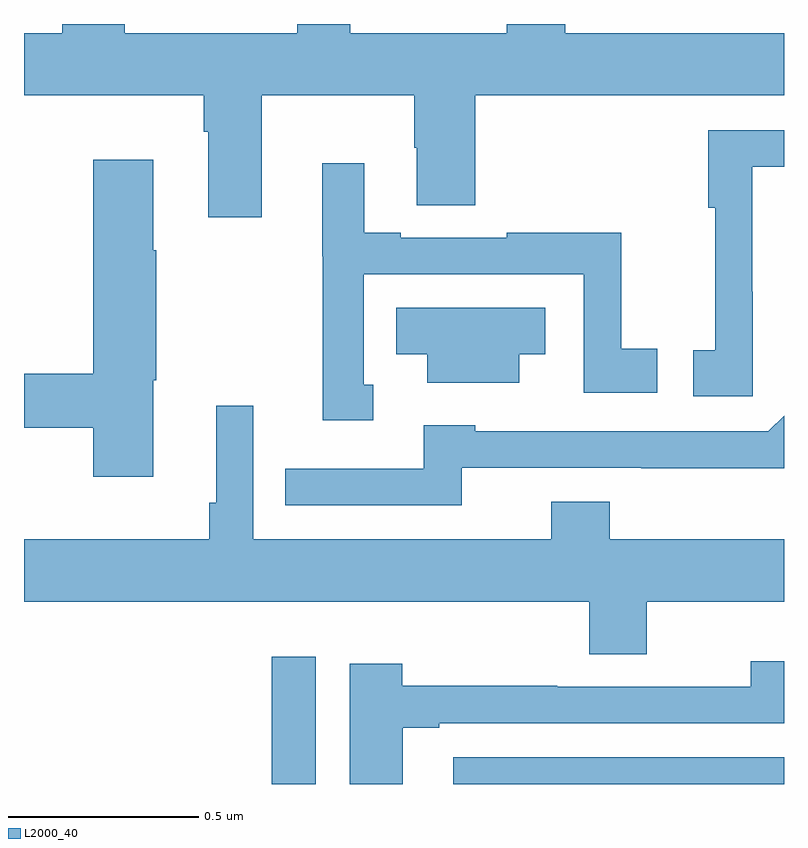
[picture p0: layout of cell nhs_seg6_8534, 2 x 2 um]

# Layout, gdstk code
import gdstk
lib = gdstk.Library(unit=1e-6, precision=1e-09)
def R(c, l, rs):  # rectangles x0, y0, x1, y1
    for r in rs: c.add(gdstk.rectangle(r[:2], r[2:], *l))
def P(c, l, *ps):  # polygons
    for p in ps: c.add(gdstk.Polygon(p, *l))
L2000_40 = (2000, 40)

nhs_seg6_8534 = lib.new_cell('nhs_seg6_8534')
R(nhs_seg6_8534, L2000_40, [(222.652,969.5,222.768,969.835), (223.13,969.5,224,969.571)])
P(nhs_seg6_8534, L2000_40, [(222.625,971.312),(223.027,971.312),(223.027,971.174),(223.034,971.174),(223.034,971.023),(223.187,971.023),(223.187,971.312),(224,971.312),(224,971.476),(223.424,971.476),(223.424,971.5),(223.271,971.5),(223.271,971.476),(222.859,971.476),(222.859,971.5),(222.719,971.5),(222.719,971.476),(222.265,971.476),(222.265,971.5),(222.101,971.5),(222.101,971.476),(222,971.476),(222,971.312),(222.473,971.312),(222.473,971.216),(222.485,971.216),(222.485,970.992),(222.625,970.992)],
  [(223.918,970.796),(223.917,970.796),(223.917,971.124),(224,971.124),(224,971.22),(223.801,971.22),(223.801,971.017),(223.819,971.017),(223.819,970.641),(223.761,970.641),(223.761,970.521),(223.918,970.521)],
  [(222.34,970.563),(222.348,970.563),(222.348,970.904),(222.34,970.904),(222.34,971.143),(222.182,971.143),(222.182,970.58),(222,970.58),(222,970.438),(222.182,970.438),(222.182,970.308),(222.34,970.308)],
  [(222.919,970.551),(222.894,970.551),(222.894,970.842),(223.473,970.842),(223.473,970.53),(223.666,970.53),(223.666,970.646),(223.572,970.646),(223.572,970.951),(223.27,970.951),(223.27,970.938),(222.991,970.938),(222.991,970.951),(222.895,970.951),(222.895,971.134),(222.785,971.134),(222.785,970.889),(222.786,970.889),(222.786,970.457),(222.919,970.457)],
  [(223.303,970.631),(223.372,970.631),(223.372,970.753),(222.979,970.753),(222.979,970.631),(223.061,970.631),(223.061,970.556),(223.303,970.556)],
  [(223.639,969.98),(224,969.98),(224,970.144),(223.541,970.144),(223.541,970.243),(223.388,970.243),(223.388,970.144),(222.603,970.144),(222.603,970.495),(222.506,970.495),(222.506,970.24),(222.487,970.24),(222.487,970.144),(222,970.144),(222,969.98),(223.487,969.98),(223.487,969.841),(223.639,969.841)],
  [(223.152,970.332),(223.624,970.332),(223.624,970.331),(224,970.331),(224,970.469),(223.959,970.428),(223.188,970.428),(223.188,970.444),(223.052,970.444),(223.052,970.329),(222.688,970.329),(222.688,970.233),(223.152,970.233)],
  [(222.997,969.648),(223.093,969.648),(223.093,969.66),(224,969.66),(224,969.823),(223.913,969.823),(223.913,969.756),(223.403,969.756),(223.403,969.759),(222.995,969.759),(222.995,969.817),(222.857,969.817),(222.857,969.5),(222.997,969.5)])

lib.write_gds('nhs_seg6_8534.gds')
